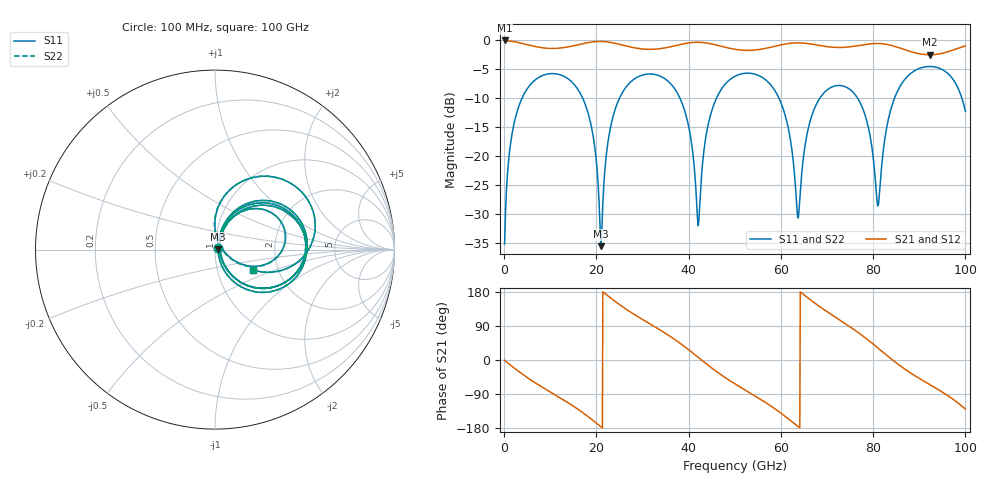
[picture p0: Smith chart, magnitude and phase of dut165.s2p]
! Touchstone file exported from HFSS 2026.1.0
!  File:  C:/ffzhzh/LocalFiles/Ansys_Project_Files/temp_test_TSV_RDL_165_1783466261_41684.aedt
!  Generated:  07:32:24 AM Jul  8, 2026
!  Design:  TSV_RDL
!  Project:  temp_test_TSV_RDL_165_1783466261_41684
! Variables:
!  h_bsmrdl = 2.01um
!  h_ox = 20um
!  h_rdl = 5um
!  h_sub = 92.32um
!  h_tmrdl = 2.56um
!  h_tsv = 92.32um
!  h_via = 3um
!  l_bsmrdl = 317.73um
!  l_sub = 2662.33um
!  l_tmrdl = 286.56um
!  m_sub = 200um
!  pitch = 57.67um
!  r_tsv = 8.22um
!  s_tmrdl = 10um
!  w_bsmrdl = 26.5um
!  w_sub = 500um
!  w_tmrdl = 27.8um
!  x_tsv_center1 = 300.46um
!  x_tsv_center2 = 644.69um
!  x_tsv_center3 = 959.05um
!  x_tsv_center4 = 1303.28um
!  x_tsv_center5 = 1617.64um
!  x_tsv_center6 = 1961.87um
# GHz S MA R 50.000000
! Terminal data exported
! Port[1] = TM_RDL1_1_T1
! Port[2] = TM_RDL5_1_T1
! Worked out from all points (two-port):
!   1000 points, 100 MHz to 100 GHz, reference 50 ohm
!   highest |S21| = -0.12 dB at 100 MHz (marker M1); lowest = -2.6 dB at 92.3 GHz (marker M2)
!   |S21| within 3 dB of the highest: start of sweep to end of sweep
!   lowest |S11| = -35.6 dB at 21 GHz (marker M3), VSWR 1.03, Z = 51.7 + j0.109 ohm
!   |S11| at or under -10 dB: 16.98 GHz to 25.06 GHz (8.079 GHz wide, 38.4 % of centre); 59.53 GHz to 68.51 GHz (8.982 GHz wide, 14 % of centre); 76.56 GHz to 84.68 GHz (8.113 GHz wide, 10.1 % of centre) (the widest 3 of 6)
!   |S22| runs from -35.4 to -4.6 dB; largest |S21 - S12| = 4e-12
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0.1  0.01734 34.2  0.9858 -1.0  0.9858 -1.0  0.01734 34.2
! Gamma 0 0 0 0
! Port Impedance 50 0 50 0
1.6  0.1446 66.7  0.9706 -15.7  0.9706 -15.7  0.1446 66.7
4.7  0.3615 43.2  0.9124 -43.7  0.9124 -43.7  0.3615 43.2
10.7  0.5102 -0.7  0.8411 -89.4  0.8411 -89.4  0.5102 -0.7
16.8  0.3272 -46.0  0.9201 -136.8  0.9201 -136.8  0.3272 -46.0
19.3  0.1466 -64.9  0.9593 -159.8  0.9593 -159.8  0.1466 -64.8
21  0.01654 3.6  0.9668 -176.2  0.9668 -176.2  0.01692 3.5
24.6  0.2873 56.0  0.921 149.9  0.921 149.9  0.2873 55.8
33.4  0.4925 -8.0  0.8337 82.2  0.8337 82.2  0.4926 -8.1
39.2  0.2396 -51.1  0.9268 34.6  0.9268 34.6  0.2396 -51.2
42.1  0.02484 10.2  0.9509 6.7  0.9509 6.7  0.02506 9.9
44.8  0.2284 64.3  0.9231 -19.2  0.9231 -19.2  0.2283 64.1
50.1  0.4849 24.9  0.8262 -63.4  0.8262 -63.4  0.4848 24.8
59.4  0.3242 -41.3  0.8919 -134.9  0.8919 -134.9  0.3241 -41.6
63.7  0.02895 1.4  0.9398 -175.5  0.9398 -175.5  0.02879 1.3
66.7  0.2211 59.4  0.9153 156.1  0.9153 156.1  0.2212 59.2
76  0.3395 -8.5  0.8798 79.1  0.8798 79.1  0.3394 -9.0
78.9  0.1797 -27.9  0.917 52.8  0.917 52.8  0.1793 -29.0
81  0.03685 24.6  0.9285 32.1  0.9285 32.1  0.03376 23.7
83.4  0.2142 87.3  0.9037 7.9  0.9037 7.9  0.2136 88.0
92.3  0.5876 24.6  0.742 -65.0  0.742 -65.0  0.5877 24.6
100  0.2404 -27.9  0.886 -129.7  0.886 -129.7  0.2404 -28.2
